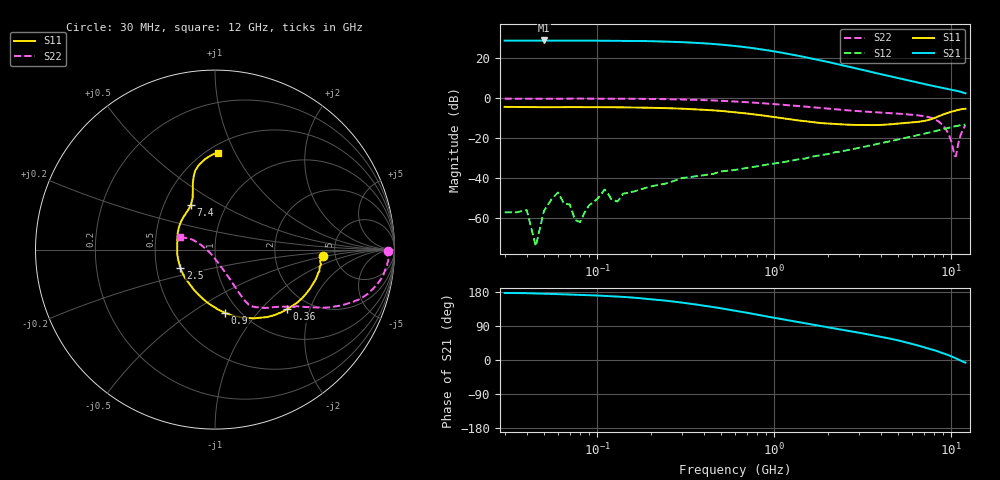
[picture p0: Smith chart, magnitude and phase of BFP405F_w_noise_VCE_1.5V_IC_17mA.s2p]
! Infineon Technologies  Discrete & RF Semiconductors
! BFP405F
! VCE =  1.5 V,  IC =  17 mA
! Common Emitter S-Parameters:  Nov 2015
# GHz  S  MA  R  50
!  f  S11  S21  S12  S22
! GHz  MAG  ANG  MAG  ANG  MAG  ANG  MAG  ANG
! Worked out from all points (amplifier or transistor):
!   239 points, 30 MHz to 12 GHz, reference 50 ohm
!   highest |S21| = 28.7 dB at 50 MHz (marker M1)
!   |S21| within 3 dB of that: start of sweep to 635.1 MHz
!   unconditionally stable (mu >= 1): start of sweep to 32.54 MHz; 42.06 MHz to 47.84 MHz; 1.661 GHz to end of sweep (the widest 3 of 4)
!   at 300 MHz: K = 0.35, MSG = 33.9 dB, |S12| = -40.0 dB
!   at 1.88 GHz: K = 1.08, MAG = 21.8 dB, |S12| = -28.4 dB
!   at 12 GHz: K = 1.40, MAG = 4.0 dB, |S12| = -13.3 dB
!   lowest NFmin = 2.08 dB at 450 MHz
!   S11 on the Smith chart (normalised r, x): 30 MHz: 3.95, -0.43; 360 MHz: 1.55, -1.42; 900 MHz: 0.86, -0.69; 2.5 GHz: 0.66, -0.14; 7.4 GHz: 0.68, +0.37; 12 GHz: 0.56, +0.85
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0.03  0.6 -3.3  27.02 177.0  0.0014 39.6  0.9622 -0.6
0.04  0.596 -4.8  27.11 176.3  0.0016 76.3  0.964 -1.0
0.045  0.5924 -5.5  27.21 175.6  0.0002 8.7  0.964 -1.4
0.05  0.5889 -6.3  27.32 174.9  0.0015 -90.8  0.9641 -1.8
0.06  0.5918 -6.9  27.1 174.0  0.0044 -88.5  0.9563 -1.6
0.075  0.5936 -8.7  27.02 172.2  0.0009 151.5  0.9661 -2.5
0.085  0.5915 -9.9  26.99 171.5  0.0014 62.1  0.9665 -3.2
0.11  0.5879 -13.1  26.84 169.2  0.0052 93.7  0.9627 -4.6
0.15  0.5825 -17.7  26.68 165.6  0.0043 95.7  0.9569 -6.4
0.24  0.5599 -27.6  25.61 156.9  0.0072 74.2  0.9376 -10.3
0.36  0.521 -39.6  23.82 146.6  0.0112 76.2  0.9 -14.6
0.46  0.4892 -48.6  22.19 139.1  0.0131 71.6  0.866 -17.8
0.6  0.4405 -60.4  19.88 130.0  0.016 72.8  0.818 -21.0
0.7  0.4102 -67.5  18.4 124.5  0.018 70.6  0.7856 -22.9
0.9  0.3567 -80.9  15.71 115.2  0.0217 68.7  0.7288 -26.0
1.3  0.2832 -103.4  11.82 101.6  0.0285 67.6  0.6423 -30.1
1.64  0.2494 -119.4  9.616 93.6  0.0343 68.4  0.5891 -32.8
2.5  0.2182 -152.5  6.372 78.6  0.0484 66.9  0.4988 -39.6
4.5  0.2202 162.2  3.487 56.5  0.0828 60.8  0.4218 -50.4
7.4  0.282 118.9  2.121 30.5  0.1353 48.1  0.336 -59.5
10.6  0.4871 99.6  1.531 4.3  0.1988 29.9  0.035 -157.1
12  0.5384 88.4  1.311 -6.9  0.2166 21.9  0.2086 160.6
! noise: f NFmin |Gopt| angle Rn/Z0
0.45  2.08  0.07  0  0.34
0.9  2.1  0.06  2  0.36
1.5  2.15  0.05  1  0.23
1.9  2.21  0.03  -15  0.22
2.4  2.35  0.02  -69  0.34
3  2.44  0.03  -103  0.11
3.5  2.5  0.05  -109  0.28
4.5  2.72  0.11  -100  0.41
5.5  3  0.19  -88  0.37
